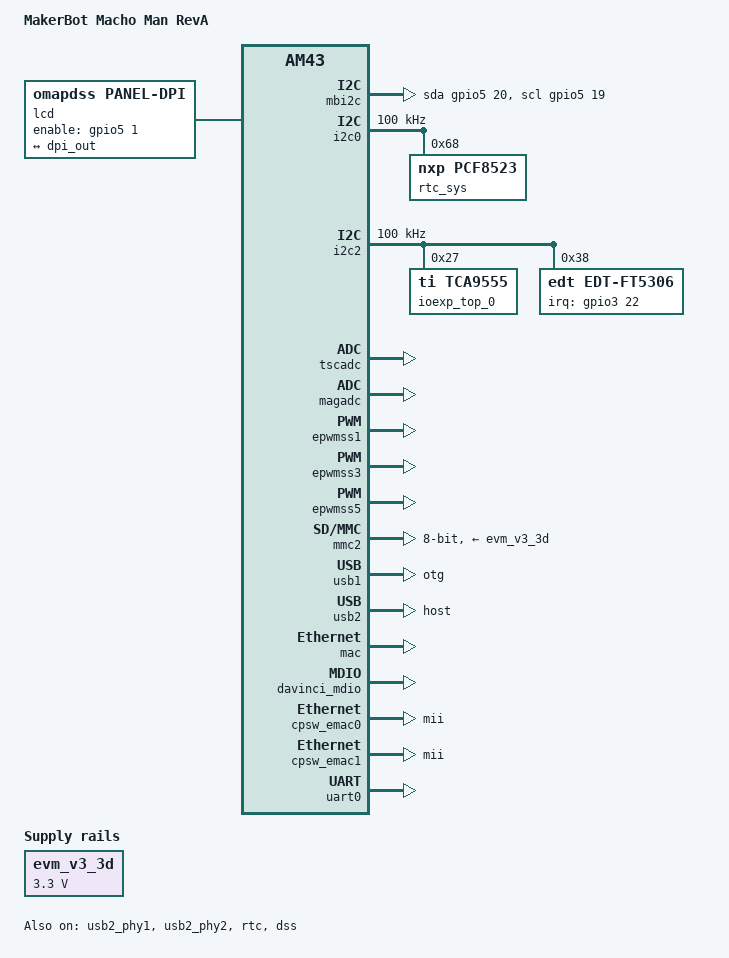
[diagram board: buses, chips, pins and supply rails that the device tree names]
/*
 * Copyright (C) 2013 Texas Instruments Incorporated - http://www.ti.com/
 *
 * This program is free software; you can redistribute it and/or modify
 * it under the terms of the GNU General Public License version 2 as
 * published by the Free Software Foundation.
 */

/* AM437x GP EVM */

/dts-v1/;

#include "am4372.dtsi"
#include <dt-bindings/pinctrl/am43xx.h>
#include <dt-bindings/pwm/pwm.h>
#include <dt-bindings/gpio/gpio.h>

/ {
	model = "MakerBot Macho Man RevA";
	compatible = "makerbot,macho-man-reva","ti,am4372","ti,am43", "ti,cpsw";

	aliases {};

	evm_v3_3d: fixedregulator-v3_3d {
		compatible = "regulator-fixed";
		regulator-name = "evm_v3_3d";
		regulator-min-microvolt = <3300000>;
		regulator-max-microvolt = <3300000>;
		enable-active-high;
	};

	mbi2c: i2c-gpio-0 {
		compatible = "i2c-gpio";
		gpios = <&gpio5 20 0>, /* sda */
			<&gpio5 19 0>; /* scl */
		/*i2c-gpio,sda-open-drain;
		i2c-gpio,scl-open-drain;*/
		i2c-gpio,delay-us = <4>;
		#address-cells = <1>;
		#size-cells = <0>;
	};
};

&am43xx_pinmux {
	pinctrl-names = "default", "sleep";
	pinctrl-0 = <&debugss_pins &unused_pins>;
	pinctrl-1 = <>;
	
	/* i2c0 pins used for the pcf8523 hardware RTC */
	i2c0_pins: i2c0_pins {
		pinctrl-single,pins = <
			0x188 (PIN_INPUT_PULLUP | SLEWCTRL_FAST | MUX_MODE0)	/* i2c0_sda.i2c0_sda */
			0x18C (PIN_INPUT_PULLUP | SLEWCTRL_FAST | MUX_MODE0)	/* i2c0_scl.i2c0_scl */
		>;
	};

	// on macho man rev a, i2c-1 is mis laid out: sda is connected to scl and vice
	// versa. so we'll use an i2c gpio for it.
	i2c1_pins: i2c1_pins {
		pinctrl-single,pins = <
			0x208 (PIN_INPUT | MUX_MODE7 | SLEWCTRL_FAST)	/* cam0_data0 (gpio5_19)*/
			0x20C (PIN_INPUT | MUX_MODE7 | SLEWCTRL_FAST)	/* cam0_data1 (gpio5_20)*/
		>;
	};

	i2c2_pins: i2c2_pins {
		pinctrl-single,pins = <
			0x1E8 (PIN_INPUT_PULLUP | SLEWCTRL_FAST | MUX_MODE3)	/* cam1_data1 / i2c2_sda*/
			0x1EC (PIN_INPUT_PULLUP | SLEWCTRL_FAST | MUX_MODE3)	/* cam1_data1 / i2c2_sdl */
		>;
	};

	emmc_pins_default: emmc_pins_default {
		pinctrl-single,pins = <
			0x020 (PIN_INPUT_PULLUP | MUX_MODE2)	/* gpmc_ad8.mmc1_dat0 */
			0x024 (PIN_INPUT_PULLUP | MUX_MODE2)	/* gpmc_ad9.mmc1_dat1 */
			0x028 (PIN_INPUT_PULLUP | MUX_MODE2)	/* gpmc_ad10.mmc1_dat2 */
			0x02C (PIN_INPUT_PULLUP | MUX_MODE2)	/* gpmc_ad11.mmc1_dat3 */
			0x030 (PIN_INPUT_PULLUP | MUX_MODE2)	/* gpmc_ad12.mmc1_dat4 */
			0x034 (PIN_INPUT_PULLUP | MUX_MODE2)	/* gpmc_ad13.mmc1_dat5 */
			0x038 (PIN_INPUT_PULLUP | MUX_MODE2)	/* gpmc_ad14.mmc1_dat6 */
			0x03C (PIN_INPUT_PULLUP | MUX_MODE2)	/* gpmc_ad15.mmc1_dat7 */
			0x080 (PIN_INPUT_PULLUP | MUX_MODE2)	/* gpmc_csn1.mmc1_clk */
			0x084 (PIN_INPUT_PULLUP | MUX_MODE2)	/* gpmc_csn2.mmc1_cmd */
		>;
	};

	emmc_pins_sleep: emmc_pins_sleep {
		pinctrl-single,pins = <
			0x020 (PIN_INPUT_PULLDOWN | MUX_MODE7)	/* gpmc_ad8 */
			0x024 (PIN_INPUT_PULLDOWN | MUX_MODE7)	/* gpmc_ad9 */
			0x028 (PIN_INPUT_PULLDOWN | MUX_MODE7)	/* gpmc_ad10 */
			0x02C (PIN_INPUT_PULLDOWN | MUX_MODE7)	/* gpmc_ad11 */
			0x030 (PIN_INPUT_PULLDOWN | MUX_MODE7)	/* gpmc_ad12 */
			0x034 (PIN_INPUT_PULLDOWN | MUX_MODE7)	/* gpmc_ad13 */
			0x038 (PIN_INPUT_PULLDOWN | MUX_MODE7)	/* gpmc_ad14 */
			0x03C (PIN_INPUT_PULLDOWN | MUX_MODE7)	/* gpmc_ad15 */
			0x080 (PIN_INPUT_PULLDOWN | MUX_MODE7)	/* gpmc_csn1.gpio1_30 */
			0x084 (PIN_INPUT_PULLDOWN | MUX_MODE7)	/* gpmc_csn2.gpio1_31 */
		>;
	};

	cpsw_default: cpsw_default {
		pinctrl-single,pins = <
			0x78 ( PIN_INPUT | MUX_MODE1 ) /* (A3) gpmc_be1n.gmii2_col */
			0x70 ( PIN_INPUT | MUX_MODE1 ) /* (A2) gpmc_wait0.gmii2_crs */
			0x74 ( PIN_INPUT_PULLDOWN | MUX_MODE1 ) /* (B3) gpmc_wpn.gmii2_rxer */
			0x40 ( PIN_OUTPUT | MUX_MODE1 ) /* (C3) gpmc_a0.gmii2_txen */
			0x44 ( PIN_INPUT_PULLDOWN | MUX_MODE1 ) /* (C5) gpmc_a1.gmii2_rxdv */
			0x58 ( PIN_INPUT | MUX_MODE1 ) /* (E8) gpmc_a6.gmii2_txclk */
			0x5c ( PIN_INPUT | MUX_MODE1 ) /* (F6) gpmc_a7.gmii2_rxclk */
			0x54 ( PIN_OUTPUT | MUX_MODE1 ) /* (E7) gpmc_a5.gmii2_txd0 */
			0x50 ( PIN_OUTPUT | MUX_MODE1 ) /* (D7) gpmc_a4.gmii2_txd1 */
			0x4c ( PIN_OUTPUT | MUX_MODE1 ) /* (A4) gpmc_a3.gmii2_txd2 */
			0x48 ( PIN_OUTPUT | MUX_MODE1 ) /* (C6) gpmc_a2.gmii2_txd3 */
			0x6c ( PIN_INPUT | MUX_MODE1 ) /* (D8) gpmc_a11.gmii2_rxd0 */
			0x68 ( PIN_INPUT | MUX_MODE1 ) /* (G8) gpmc_a10.gmii2_rxd1 */
			0x64 ( PIN_INPUT | MUX_MODE1 ) /* (B4) gpmc_a9.gmii2_rxd2 */
			0x60 ( PIN_INPUT | MUX_MODE1 ) /* (F7) gpmc_a8.gmii2_rxd3 */
			0x270 (PIN_OUTPUT | MUX_MODE3)	/* xdma_evt_intr0 as clkout0*/
			0x000 (PIN_OUTPUT_PULLUP | MUX_MODE7)	/* gpmc_ad0 */
		>;
	};

	cpsw_sleep: cpsw_sleep {
		pinctrl-single,pins = <
			0x78 (PIN_INPUT_PULLDOWN | MUX_MODE7) /* (A3) gpmc_be1n.gmii2_col */
			0x70 (PIN_INPUT_PULLDOWN | MUX_MODE7) /* (A2) gpmc_wait0.gmii2_crs */
			0x74 (PIN_INPUT_PULLDOWN | MUX_MODE7) /* (B3) gpmc_wpn.gmii2_rxer */
			0x40 (PIN_OUTPUT_PULLDOWN | MUX_MODE7) /* (C3) gpmc_a0.gmii2_txen */
			0x44 (PIN_INPUT_PULLDOWN | MUX_MODE7) /* (C5) gpmc_a1.gmii2_rxdv */
			0x58 (PIN_INPUT_PULLDOWN | MUX_MODE7) /* (E8) gpmc_a6.gmii2_txclk */
			0x5c (PIN_INPUT_PULLDOWN | MUX_MODE7) /* (F6) gpmc_a7.gmii2_rxclk */
			0x54 (PIN_OUTPUT_PULLDOWN | MUX_MODE7) /* (E7) gpmc_a5.gmii2_txd0 */
			0x50 (PIN_OUTPUT_PULLDOWN | MUX_MODE7) /* (D7) gpmc_a4.gmii2_txd1 */
			0x4c (PIN_OUTPUT_PULLDOWN | MUX_MODE7) /* (A4) gpmc_a3.gmii2_txd2 */
			0x48 (PIN_OUTPUT_PULLDOWN | MUX_MODE7) /* (C6) gpmc_a2.gmii2_txd3 */
			0x6c (PIN_INPUT_PULLDOWN | MUX_MODE7) /* (D8) gpmc_a11.gmii2_rxd0 */
			0x68 (PIN_INPUT_PULLDOWN | MUX_MODE7) /* (G8) gpmc_a10.gmii2_rxd1 */
			0x64 (PIN_INPUT_PULLDOWN | MUX_MODE7) /* (B4) gpmc_a9.gmii2_rxd2 */
			0x60 (PIN_INPUT_PULLDOWN | MUX_MODE7) /* (F7) gpmc_a8.gmii2_rxd3 */
			0x270 (PIN_OUTPUT | MUX_MODE3)	/* xdma_evt_intr0 as clkout0*/
			0x000 (PIN_OUTPUT_PULLUP | MUX_MODE7)	/* gpmc_ad0 */
		>;
	};

	

	davinci_mdio_default: davinci_mdio_default {
		pinctrl-single,pins = <
			/* MDIO */
			0x148 (PIN_INPUT | SLEWCTRL_FAST | MUX_MODE0)	/* mdio_data.mdio_data */
			0x14c (PIN_OUTPUT | MUX_MODE0)			/* mdio_clk.mdio_clk */
		>;
	};

	davinci_mdio_sleep: davinci_mdio_sleep {
		pinctrl-single,pins = <
			/* MDIO reset value */
			0x148 (PIN_INPUT | PULL_DISABLE | MUX_MODE7)
			0x14c (PIN_INPUT | PULL_DISABLE | MUX_MODE7)
		>;
	};

	uart0_pins_default: uart0_pins_default {
		pinctrl-single,pins = <
			0x168 (DS0_PULL_UP_DOWN_EN | INPUT_EN | MUX_MODE0)	/* uart0_ctsn.uart0_ctsn */
			0x16C (DS0_PULL_UP_DOWN_EN | INPUT_EN | MUX_MODE0)	/* uart0_rtsn.uart0_rtsn */
			0x170 (PIN_INPUT_PULLUP | SLEWCTRL_FAST | DS0_PULL_UP_DOWN_EN | MUX_MODE0) /* uart0_rxd.uart0_rxd */
			0x174 (PIN_INPUT | PULL_DISABLE | SLEWCTRL_FAST | DS0_PULL_UP_DOWN_EN | MUX_MODE0) /* uart0_txd.uart0_txd */
		>;
	};

	uart0_pins_sleep: uart0_pins_sleep {
		pinctrl-single,pins = <
			0x168 (DS0_PULL_UP_DOWN_EN | INPUT_EN | MUX_MODE7)	/* uart0_ctsn */
			0x16C (DS0_PULL_UP_DOWN_EN | INPUT_EN | MUX_MODE7)	/* uart0_ctsn */
			0x170 (PIN_INPUT_PULLUP | SLEWCTRL_FAST | DS0_PULL_UP_DOWN_EN | MUX_MODE0) /* uart0_rxd.uart0_rxd */
			0x174 (PIN_INPUT_PULLDOWN | SLEWCTRL_FAST | DS0_PULL_UP_DOWN_EN | MUX_MODE0) /* uart0_txd.uart0_txd */
		>;
	};

	debugss_pins: pinmux_debugss_pins {
		pinctrl-single,pins = <
			0x290 (PIN_INPUT_PULLDOWN)
			0x294 (PIN_INPUT_PULLDOWN)
			0x298 (PIN_INPUT_PULLDOWN)
			0x29C (PIN_INPUT_PULLDOWN)
			0x2A0 (PIN_INPUT_PULLDOWN)
			0x2A4 (PIN_INPUT_PULLDOWN)
			0x2A8 (PIN_INPUT_PULLDOWN)
		>;
	};

	pruss_pins: pruss_pins {
		pinctrl-single,pins = <
			0x190 (PIN_OUTPUT | MUX_MODE5)	/* mcasp0_aclkx (pru gpo0)*/
			0x194 (PIN_OUTPUT | MUX_MODE5)	/* mcasp0_fsx (pru gpo1)*/
			0x198 (PIN_OUTPUT | MUX_MODE5)	/* mcasp0_axr0 (pru gpo2)*/
			0x19C (PIN_OUTPUT | MUX_MODE5)	/* mcasp0_ahclkr (pru gpo3)*/
			0x1A0 (PIN_OUTPUT | MUX_MODE5)	/* mcasp0_aclkr (pru gpo4)*/
			0x1A4 (PIN_OUTPUT | MUX_MODE5)	/* mcasp0_fsr (pru gpo5)*/
			0x1A8 (PIN_OUTPUT | MUX_MODE5)	/* mcasp0_axr1 (pru gpo6)*/
			0x1AC (PIN_OUTPUT | MUX_MODE5)	/* mcasp0_ahclkx (pru gpo7) */
			0x0F0 (PIN_OUTPUT | MUX_MODE5)	/* mmc0_dat3 (pru gpo8)*/
			0x0F4 (PIN_OUTPUT | MUX_MODE5)	/* mmc0_dat2 (pru gpo9)*/
			0x0F8 (PIN_OUTPUT | MUX_MODE5)	/* mmc0_dat1 (pru gpo10)*/
			0x0FC (PIN_OUTPUT | MUX_MODE5)	/* mmc0_dat0 (pru gpo11)*/
			0x100 (PIN_OUTPUT | MUX_MODE5)	/* mmc0_clk (pru gpo12)*/
			0x104 (PIN_OUTPUT | MUX_MODE5)	/* mmc0_cmd (pri gpo13)*/
			0x1C0 (PIN_INPUT_PULLDOWN | MUX_MODE5)	/* cam0_pclk (pru gpi14) INPUT*/
			0x1C4 (PIN_INPUT_PULLDOWN | MUX_MODE5)	/* cam0_data8 (pru gpi15) INPUT*/
			0x1C8 (PIN_INPUT_PULLDOWN | MUX_MODE5)	/* cam0_data9 (pru gpo16)*/
			0x1CC (PIN_OUTPUT | MUX_MODE3)	/* cam1_data9 (pru gpo17)*/
			0x228 (PIN_OUTPUT | MUX_MODE4)	/* uart3_rxd (pru gpo18)*/
			0x22C (PIN_OUTPUT | MUX_MODE4)	/* uart3_txd (pru gpo19)*/
			// pr0_pru1 pins begin here
			0x1D0 (PIN_OUTPUT | MUX_MODE4)	/* cam1_data8 (pru1 gpo0)*/
			0x1D4 (PIN_OUTPUT | MUX_MODE3)	/* cam1_hd (pru1 gpo1)*/
			0x1D8 (PIN_OUTPUT | MUX_MODE3)	/* cam1_vd (pru1 gpo2)*/
			0x1DC (PIN_OUTPUT | MUX_MODE3)	/* cam1_pclk (pru1 gpo3)*/
			0x1F0 (PIN_OUTPUT | MUX_MODE4)	/* cam1_data2 (pru1 gpo10)*/
			0x1F4 (PIN_OUTPUT | MUX_MODE4)	/* cam1_data3 (pru1 gpo11)*/
			0x1F8 (PIN_OUTPUT | MUX_MODE4)	/* cam1_data4 (pru1 gpo12)*/
			0x1FC (PIN_OUTPUT | MUX_MODE4)	/* cam1_data5 (pru1 gpo13)*/
			0x200 (PIN_OUTPUT | MUX_MODE4)	/* cam1_data6 (pru1 gpo14)*/
			0x204 (PIN_OUTPUT | MUX_MODE4)	/* cam1_data7 (pru1 gpo15)*/
		>;
	};

	dss_pins_default: dss_pins_default {
		pinctrl-single,pins = <
			0x234 (PIN_OUTPUT_PULLDOWN | MUX_MODE7)	/* uart3_rtsn.gpio5_1 (bklight)*/
			0x0A0 (PIN_OUTPUT_PULLUP | MUX_MODE0)	/* lcd_data0.lcd_data0 */
			0x0A4 (PIN_OUTPUT_PULLUP | MUX_MODE0)	/* lcd_data1.lcd_data1 */
			0x0A8 (PIN_OUTPUT_PULLUP | MUX_MODE0)	/* lcd_data2.lcd_data2 */
			0x0AC (PIN_OUTPUT_PULLUP | MUX_MODE0)	/* lcd_data3.lcd_data3 */
			0x0B0 (PIN_OUTPUT_PULLUP | MUX_MODE0)	/* lcd_data4.lcd_data4 */
			0x0B4 (PIN_OUTPUT_PULLUP | MUX_MODE0)	/* lcd_data5.lcd_data5 */
			0x0B8 (PIN_OUTPUT_PULLUP | MUX_MODE0)	/* lcd_data6.lcd_data6 */
			0x0BC (PIN_OUTPUT_PULLUP | MUX_MODE0)	/* lcd_data7.lcd_data7 */
			0x0C0 (PIN_OUTPUT_PULLUP | MUX_MODE0)	/* lcd_data8.lcd_data8 */
			0x0C4 (PIN_OUTPUT_PULLUP | MUX_MODE0)	/* lcd_data9.lcd_data9 */
			0x0C8 (PIN_OUTPUT_PULLUP | MUX_MODE0)	/* lcd_data10.lcd_data10 */
			0x0CC (PIN_OUTPUT_PULLUP | MUX_MODE0)	/* lcd_data11.lcd_data11 */
			0x0D0 (PIN_OUTPUT_PULLUP | MUX_MODE0)	/* lcd_data12.lcd_data12 */
			0x0D4 (PIN_OUTPUT_PULLUP | MUX_MODE0)	/* lcd_data13.lcd_data13 */
			0x0D8 (PIN_OUTPUT_PULLUP | MUX_MODE0)	/* lcd_data14.lcd_data14 */
			0x0DC (PIN_OUTPUT_PULLUP | MUX_MODE0)	/* lcd_data15.lcd_data15 */
			0x0E0 (PIN_OUTPUT_PULLUP | MUX_MODE0)	/* lcd_vsync.lcd_vsync */
			0x0E4 (PIN_OUTPUT_PULLUP | MUX_MODE0)	/* lcd_hsync.lcd_hsync */
			0x0E8 (PIN_OUTPUT_PULLUP | MUX_MODE0)	/* lcd_pclk.lcd_pclk */
			0x0EC (PIN_OUTPUT_PULLUP | MUX_MODE0)	/* lcd_ac_bias_en.lcd_ac_bias_en */
		>;
	};

	dss_pins_sleep: dss_pins_sleep {
		pinctrl-single,pins = <
			0x234 (PIN_INPUT_PULLDOWN | MUX_MODE7)	/* uart3_rtsn */
			0x0A0 (PIN_INPUT_PULLDOWN | MUX_MODE7)	/* lcd_data0 */
			0x0A4 (PIN_INPUT_PULLDOWN | MUX_MODE7)	/* lcd_data1 */
			0x0A8 (PIN_INPUT_PULLDOWN | MUX_MODE7)	/* lcd_data2 */
			0x0AC (PIN_INPUT_PULLDOWN | MUX_MODE7)	/* lcd_data3 */
			0x0B0 (PIN_INPUT_PULLDOWN | MUX_MODE7)	/* lcd_data4 */
			0x0B4 (PIN_INPUT_PULLDOWN | MUX_MODE7)	/* lcd_data5 */
			0x0B8 (PIN_INPUT_PULLDOWN | MUX_MODE7)	/* lcd_data6 */
			0x0BC (PIN_INPUT_PULLDOWN | MUX_MODE7)	/* lcd_data7 */
			0x0C0 (PIN_INPUT_PULLDOWN | MUX_MODE7)	/* lcd_data8 */
			0x0C4 (PIN_INPUT_PULLDOWN | MUX_MODE7)	/* lcd_data9 */
			0x0C8 (PIN_INPUT_PULLDOWN | MUX_MODE7)	/* lcd_data10 */
			0x0CC (PIN_INPUT_PULLDOWN | MUX_MODE7)	/* lcd_data11 */
			0x0D0 (PIN_INPUT_PULLDOWN | MUX_MODE7)	/* lcd_data12 */
			0x0D4 (PIN_INPUT_PULLDOWN | MUX_MODE7)	/* lcd_data13 */
			0x0D8 (PIN_INPUT_PULLDOWN | MUX_MODE7)	/* lcd_data14 */
			0x0DC (PIN_INPUT_PULLDOWN | MUX_MODE7)	/* lcd_data15 */
			0x0E0 (PIN_INPUT_PULLDOWN | MUX_MODE7)	/* lcd_vsync */
			0x0E4 (PIN_INPUT_PULLDOWN | MUX_MODE7)	/* lcd_hsync */
			0x0E8 (PIN_INPUT_PULLDOWN | MUX_MODE7)	/* lcd_pclk */
			0x0EC (PIN_INPUT_PULLDOWN | MUX_MODE7)	/* lcd_ac_bias_en */
		>;
	};

	edt_ft5xx6_ts_pins: edt_ft5xx6_ts_pins {
		pinctrl-single,pins = <
			0x264 (PIN_INPUT | MUX_MODE7)	/* spi2_d0.gpio3_22 (ts interrupt) */
		>;
	};

	ehrpwm1_pins: ehrpwm1_pins {
		pinctrl-single,pins = <
			0x158 (PIN_OUTPUT | MUX_MODE8)	/* spi0_d1 (eHRPWM1A)*/
			0x15C (PIN_OUTPUT | MUX_MODE8)	/* spi0_cs0 (eHRPWM1B)*/
		>;
	};

	ehrpwm3_pins: ehrpwm3_pins {
		pinctrl-single,pins = <
			0x218 (PIN_OUTPUT | MUX_MODE6)	/* cam0_data4 (eHRPWM3A)*/
			0x21C (PIN_OUTPUT | MUX_MODE6)	/* cam0_data5 (eHRPWM3B)*/
		>;
	};

	ehrpwm5_pins: ehrpwm5_pins {
		pinctrl-single,pins = <
			0x230 (PIN_OUTPUT | MUX_MODE6)	/* uart3_ctsn (eHRPWM5A)*/
		>;
	};

	unused_pins: unused_pins {
		pinctrl-single,pins = <
			0x004 (PIN_INPUT_PULLDOWN | MUX_MODE7)	/* gpmc_ad1 */
			0x008 (PIN_INPUT_PULLDOWN | MUX_MODE7)	/* gpmc_ad2 */
			0x00C (PIN_INPUT_PULLDOWN | MUX_MODE7)	/* gpmc_ad3 */
			0x010 (PIN_INPUT_PULLDOWN | MUX_MODE7)	/* gpmc_ad4 */
			0x014 (PIN_INPUT_PULLDOWN | MUX_MODE7)	/* gpmc_ad5 */
			0x018 (PIN_INPUT_PULLDOWN | MUX_MODE7)	/* gpmc_ad6 */
			0x01C (PIN_INPUT_PULLDOWN | MUX_MODE7)	/* gpmc_ad7 */
			0x07C (PIN_INPUT_PULLDOWN | MUX_MODE7)	/* gpmc_csn0  */
			0x088 (PIN_INPUT_PULLDOWN | MUX_MODE7)	/* gpmc_csn3 */
			0x08C (PIN_OUTPUT_PULLUP | MUX_MODE7)	/* gpmc_clk / gpio2.1 / pwr-main */
			0x090 (PIN_OUTPUT_PULLUP | MUX_MODE7)	/* gpmc_advn_ale / gpio2.2 / 12v en */
			0x094 (PIN_INPUT_PULLDOWN | MUX_MODE7)	/* gpmc_oen_ren */
			0x098 (PIN_INPUT_PULLDOWN | MUX_MODE7)	/* gpmc_wen */
			0x09C (PIN_INPUT_PULLDOWN | MUX_MODE7)	/* gpmc_be0n_cle */
			0x108 (PIN_INPUT_PULLDOWN | MUX_MODE7)	/* mii1_col */
			0x10C (PIN_INPUT_PULLDOWN | MUX_MODE7)	/* mii1_crs */
			0x110 (PIN_INPUT_PULLDOWN | MUX_MODE7)	/* mii1_rxerr */
			0x114 (PIN_INPUT_PULLDOWN | MUX_MODE7)	/* mii1_txen */
			0x118 (PIN_INPUT_PULLDOWN | MUX_MODE7)	/* mii1_rxdv */
			0x11C (PIN_INPUT_PULLDOWN | MUX_MODE7)	/* mii1_txd3 */
			0x120 (PIN_INPUT_PULLDOWN | MUX_MODE7)	/* mii1_txd2 */
			0x124 (PIN_INPUT_PULLDOWN | MUX_MODE7)	/* mii1_txd1 */
			0x128 (PIN_INPUT_PULLDOWN | MUX_MODE7)	/* mii1_txd0 */
			0x12C (PIN_INPUT_PULLDOWN | MUX_MODE7)	/* mii1_txclk */
			0x130 (PIN_INPUT_PULLDOWN | MUX_MODE7)	/* mii1_rxclk */
			0x134 (PIN_INPUT_PULLDOWN | MUX_MODE7)	/* mii1_rxd3 */
			0x138 (PIN_INPUT_PULLDOWN | MUX_MODE7)	/* mii1_rxd2 */
			0x13C (PIN_INPUT_PULLDOWN | MUX_MODE7)	/* mii1_rxd1 */
			0x140 (PIN_INPUT_PULLDOWN | MUX_MODE7)	/* mii1_rxd0 */
			0x144 (PIN_INPUT_PULLDOWN | MUX_MODE7)	/* rmii1_refclk */
			0x150 (PIN_INPUT_PULLDOWN | MUX_MODE7)	/* spi0_sclk */
			0x154 (PIN_INPUT_PULLDOWN | MUX_MODE7)	/* spi0_d0 */
			0x160 (PIN_INPUT_PULLDOWN | MUX_MODE7)	/* spi0_cs1 */
			0x164 (PIN_INPUT_PULLDOWN | MUX_MODE7)	/* ecap0_in_pwm0_out */
			0x178 (PIN_INPUT_PULLDOWN | MUX_MODE7)	/* uart1_ctsn */
			0x17C (PIN_INPUT_PULLDOWN | MUX_MODE7)	/* uart1_rtsn */
			0x180 (PIN_INPUT_PULLDOWN | MUX_MODE7)	/* uart1_rxd */
			0x184 (PIN_INPUT_PULLDOWN | MUX_MODE7)	/* uart1_txd */
			0x1B0 (PIN_INPUT_PULLDOWN | MUX_MODE7)	/* cam0_hd */
			0x1B4 (PIN_INPUT_PULLDOWN | MUX_MODE7)	/* cam0_vd */
			0x210 (PIN_INPUT_PULLDOWN | MUX_MODE7)	/* cam0_data2 */
			0x214 (PIN_INPUT_PULLDOWN | MUX_MODE7)	/* cam0_data3 */
			0x220 (PIN_INPUT_PULLDOWN | MUX_MODE7)	/* cam0_data6 */
			0x224 (PIN_INPUT_PULLDOWN | MUX_MODE7)	/* cam0_data7 */
			0x238 (PIN_INPUT_PULLDOWN | MUX_MODE7)	/* gpio5_8 */
			0x23C (PIN_INPUT_PULLDOWN | MUX_MODE7)	/* gpio5_9 */
			0x240 (PIN_INPUT_PULLDOWN | MUX_MODE7)	/* gpio5_10 */
			0x244 (PIN_INPUT_PULLDOWN | MUX_MODE7)	/* gpio5_11 */
			0x248 (PIN_INPUT_PULLDOWN | MUX_MODE7)	/* gpio5_12 */
			0x24C (PIN_INPUT_PULLDOWN | MUX_MODE7)	/* gpio5_13 */
			0x250 (PIN_INPUT_PULLDOWN | MUX_MODE7)	/* spi4_sclk */
			0x254 (PIN_INPUT_PULLDOWN | MUX_MODE7)	/* spi4_d0 */
			0x258 (PIN_INPUT_PULLDOWN | MUX_MODE7)	/* spi4_d1 */
			0x25C (PIN_INPUT_PULLDOWN | MUX_MODE7)	/* spi4_cs0 */
			0x260 (PIN_INPUT_PULLDOWN | MUX_MODE7)	/* spi2_sclk */
			0x268 (PIN_INPUT_PULLDOWN | MUX_MODE7)	/* spi2_d1 */
			0x26C (PIN_INPUT_PULLDOWN | MUX_MODE7)	/* spi2_cs0 */
			0x278 (PIN_INPUT_PULLDOWN | MUX_MODE7)	/* xdma_evt_intr1 */
			0x27C (PIN_INPUT | PULL_DISABLE)	/* nresetin_out */
		>;
	};

	usb1_pins_default: usb1_pins_default {
		pinctrl-single,pins = <
			0x2c0 (DS0_PULL_UP_DOWN_EN | PIN_INPUT_PULLDOWN | MUX_MODE0)
		>;
	};

	usb1_pins_sleep: usb1_pins_sleep {
		pinctrl-single,pins = <
			0x2c0 (DS0_PULL_UP_DOWN_EN | PIN_INPUT_PULLDOWN | MUX_MODE7)
		>;
	};

	usb2_pins_default: usb2_pins_default {
		pinctrl-single,pins = <
			0x2c4 (DS0_PULL_UP_DOWN_EN | PIN_INPUT_PULLDOWN | MUX_MODE0)
		>;
	};

	usb2_pins_sleep: usb2_pins_sleep {
		pinctrl-single,pins = <
			0x2c4 (DS0_PULL_UP_DOWN_EN | PIN_INPUT_PULLDOWN | MUX_MODE7)
		>;
	};
};

// i2c1 is incorrectly laid out on macho man rev a, sda and scl are switched.
// we'll use a gpio i2c here instead.
//&i2c1 {
//	status = "okay";
//	pinctrl-names = "default";
//	pinctrl-0 = <&i2c1_pins>;
//	clock-frequency = <100000>;
//};

&i2c0 {
	status = "okay";
	pinctrl-names = "default";
	pinctrl-0 = <&i2c0_pins>;
	clock-frequency = <100000>;
	
	rtc_sys: pcf8523 {
		compatible = "nxp,pcf8523";
		status = "okay";
		reg = <0x68>;
	};
};

&i2c2 {
	status = "okay";
	pinctrl-names = "default";
	pinctrl-0 = <&i2c2_pins>;
	clock-frequency = <100000>;

	ioexp_top_0: ioexp@27 {
		status = "okay";
		compatible = "ti,tca9555";
		reg = <0x27>;
	};

	edt-ft5306@38 {
		status = "okay";
		compatible = "edt,edt-ft5306", "edt,edt-ft5x06";
		pinctrl-names = "default";
		pinctrl-0 = <&edt_ft5xx6_ts_pins>;
		reg = <0x38>;

		/* This is what am437x-sk-evm.dts does but the device driver
		 * code seems to be looking for irq-gpios...
		 */
		interrupt-parent = <&gpio3>;
		interrupts = <22 0>;

		/* Should just match the screen resolution */
		touchscreen-size-x = <800>;
		touchscreen-size-y = <480>;
	};
};

&tscadc {
	status = "okay";

    adc {
    	ti,adc-channels = <0 1 2 3 4 5 6 7>;
    };
};

&magadc {
	status = "okay";

	mag {
		ti,tracks = <0>;
	};

	adc {
		ti,adc-channels = <0 1 2 3 4 5 6 7>;
	};
};

&epwmss1 {
	status = "okay";
	ehrpwm1: pwm@48302200 {
		status = "okay";
		pinctrl-names = "default";
		pinctrl-0 = <&ehrpwm1_pins>;
	};
};

&epwmss3 {
	status = "okay";
	ehrpwm3: pwm@48306200 {
		status = "okay";
		pinctrl-names = "default";
		pinctrl-0 = <&ehrpwm3_pins>;
	};
};

&epwmss5 {
	status = "okay";
	ehrpwm5: pwm@4830a200 {
		status = "okay";
		pinctrl-names = "default";
		pinctrl-0 = <&ehrpwm5_pins>;
	};
};

&gpio0 {
	status = "okay";
};

&gpio1 {
	status = "okay";
};

&gpio2 {
	status = "okay";
};

&gpio3 {
	status = "okay";
};

&gpio4 {
	status = "okay";
};

&gpio5 {
	status = "okay";
};

/* eMMC sits on mmc2 */
&mmc2 {
	status = "okay";
	vmmc-supply = <&evm_v3_3d>;
	bus-width = <8>;
	pinctrl-names = "default", "sleep";
	pinctrl-0 = <&emmc_pins_default>;
	pinctrl-1 = <&emmc_pins_sleep>;
};

&usb2_phy1 {
	status = "okay";
};

&usb1 {
	dr_mode = "otg";
	status = "okay";
	pinctrl-names = "default", "sleep";
	pinctrl-0 = <&usb1_pins_default>;
	pinctrl-1 = <&usb1_pins_sleep>;
};

&usb2_phy2 {
	status = "okay";
};

&usb2 {
	dr_mode = "host";
	status = "okay";
	pinctrl-names = "default", "sleep";
	pinctrl-0 = <&usb2_pins_default>;
	pinctrl-1 = <&usb2_pins_sleep>;
};

&mac {
	pinctrl-names = "default", "sleep";
	pinctrl-0 = <&cpsw_default>;
	pinctrl-1 = <&cpsw_sleep>;
	active_slave = <1>;
	status = "okay";
};

&davinci_mdio {
	pinctrl-names = "default", "sleep";
	pinctrl-0 = <&davinci_mdio_default>;
	pinctrl-1 = <&davinci_mdio_sleep>;
	status = "okay";
};

// we're not using this but let's avoid boot time complaints
&cpsw_emac0 {
	phy_id = <&davinci_mdio>, <0>;
	phy-mode = "mii";
};

&cpsw_emac1 {
	phy_id = <&davinci_mdio>, <1>;
	phy-mode = "mii";
};

&uart0 {
	status = "okay";
	pinctrl-names = "default", "sleep";
	pinctrl-0 = <&uart0_pins_default>;
	pinctrl-1 = <&uart0_pins_sleep>;
};

&wkup_m3_ipc {
	ti,set-io-isolation;
	ti,scale-data-fw = "am43x-evm-scale-data.bin";
};

&rtc {
	status = "okay";
	ext-clk-src;
};

&pruss0 {
	pinctrl-names = "default";
	pinctrl-0 = <&pruss_pins>;
};

&dss {
	status = "okay";
	pinctrl-names = "default", "sleep";
	pinctrl-0 = <&dss_pins_default>;
	pinctrl-1 = <&dss_pins_sleep>;

	port {
		dpi_out: endpoint@0 {
			remote-endpoint = <&lcd_in>;
			data-lines = <16>;
		};
	};
};

/* TODO: This clearly belongs in dss and not in the root node.
 *       But the dss is poorly written so this cannot go there.
 */
/ {
	lcd0: display@0 {
		compatible = "omapdss,panel-dpi", "panel-dpi";
		label = "lcd";
		status = "okay";
		/* This is the backlight, not really an enable... */
		enable-gpios = <&gpio5 1 GPIO_ACTIVE_HIGH>;

		port {
			lcd_in: endpoint {
				remote-endpoint = <&dpi_out>;
			};
		};

		/* Mostly from the panel-dpi example */
		panel-timing {
			clock-frequency = <33000000>;
			hactive = <800>;
			vactive = <480>;
			hfront-porch = <40>;
			hback-porch = <40>;
			hsync-len = <48>;
			vback-porch = <29>;
			vfront-porch = <13>;
			vsync-len = <3>;

			hsync-active = <0>;
			vsync-active = <0>;
			de-active = <1>;
			pixelclk-active = <0>;
		};
	};
};
